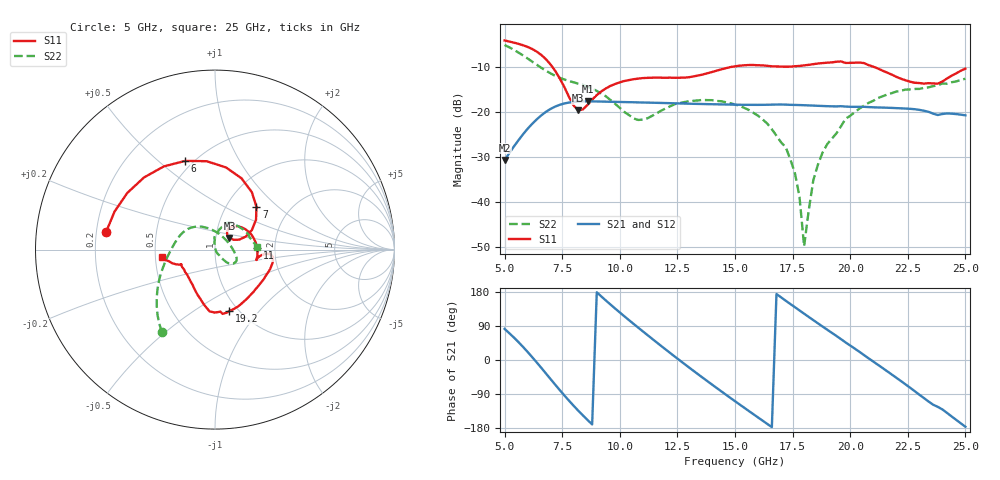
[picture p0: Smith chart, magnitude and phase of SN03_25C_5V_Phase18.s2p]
!File name = SN03_25C_5V_Phase18.s2p
!Date = 2/3/2014
!Time = 2:35 PM
!Test duration(min) = 0.07
!Test = SPars
!MPTS version = 7.120.8
!Comments =
!set_LD1(binary) = 18
!set_LD2(binary) = 524269
!test = SPars
!date_code = 20140203
!file_name = SN03_25C_5V_Phase18.s2p
!VREF(V) = 5.000
!VREF(mA) = 0.002
# GHz  S  DB  R  50
!%	Freq(GHz)  S11(dB)  S11(deg)  S21(dB)  S21(deg)  S12(dB)  S12(deg)  S22(dB)  S22(deg)
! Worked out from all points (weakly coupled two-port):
!   101 points, 5 GHz to 25 GHz, reference 50 ohm
!   highest |S21| = -17.69 dB at 8.6 GHz (marker M1); lowest = -30.7 dB at 5 GHz (marker M2)
!   lowest |S11| = -19.7 dB at 8.2 GHz (marker M3), VSWR 1.23, Z = 58.2 + j7.66 ohm
!   |S11| at or under -10 dB: 7.061 GHz to 14.93 GHz (7.871 GHz wide, 71.6 % of centre); 16.95 GHz to 17.43 GHz (486.7 MHz wide, 2.83 % of centre); 20.99 GHz to end of sweep
!   |S22| runs from -49.7 to -5.2 dB; largest |S21 - S12| = 0.0005
!   S11 on the Smith chart (normalised r, x): 5 GHz: 0.24, +0.07; 6 GHz: 0.45, +0.62; 7 GHz: 1.37, +0.74; 11 GHz: 1.62, +0.02; 19.2 GHz: 0.91, -0.71; 25 GHz: 0.54, -0.05
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5  -4.22 170.9  -30.68 82.1  -30.70 82.0  -5.24 -122.7
6  -5.66 108.5  -23.75 21.2  -23.77 21.1  -8.21 -145.5
7  -9.57 46.0  -19.35 -50.7  -19.38 -50.6  -11.52 -172.1
8.2  -19.70 39.0  -17.74 -133.9  -17.77 -133.8  -13.79 153.2
8.4  -19.46 49.8  -17.71 -146.3  -17.73 -146.2  -14.09 147.8
8.6  -18.46 55.9  -17.69 -158.3  -17.71 -158.2  -14.46 142.4
9.6  -14.26 40.0  -17.79 146.2  -17.81 146.3  -17.42 113.6
11  -12.54 1.7  -17.95 75.6  -17.96 75.6  -21.72 35.8
11.8  -12.46 -11.3  -18.05 36.9  -18.06 36.9  -19.74 -2.5
13.6  -11.76 -7.4  -18.28 -46.8  -18.28 -46.9  -17.37 -27.5
15  -9.94 -5.9  -18.43 -108.7  -18.43 -108.8  -18.39 -40.5
16.2  -9.73 -19.3  -18.46 -160.1  -18.48 -160.1  -21.68 -49.1
17.2  -10.02 -39.1  -18.41 156.5  -18.43 156.6  -27.81 -52.7
17.6  -9.93 -48.0  -18.48 139.4  -18.50 139.4  -33.54 -58.4
17.8  -9.86 -52.6  -18.51 130.8  -18.53 130.8  -38.83 -58.5
18  -9.73 -56.6  -18.55 122.2  -18.56 122.2  -49.72 0.0
18.4  -9.46 -64.5  -18.63 105.2  -18.65 105.2  -35.12 95.3
19.2  -9.08 -76.9  -18.79 71.8  -18.80 71.8  -25.98 92.1
19.8  -9.20 -85.0  -18.85 46.4  -18.86 46.4  -21.54 89.2
21.8  -11.77 -114.4  -19.14 -38.1  -19.16 -38.1  -15.88 67.0
23.8  -13.79 -156.6  -20.71 -123.7  -20.73 -123.6  -14.15 30.6
25  -10.45 -172.6  -20.78 -176.1  -20.80 -176.1  -12.69 3.9
